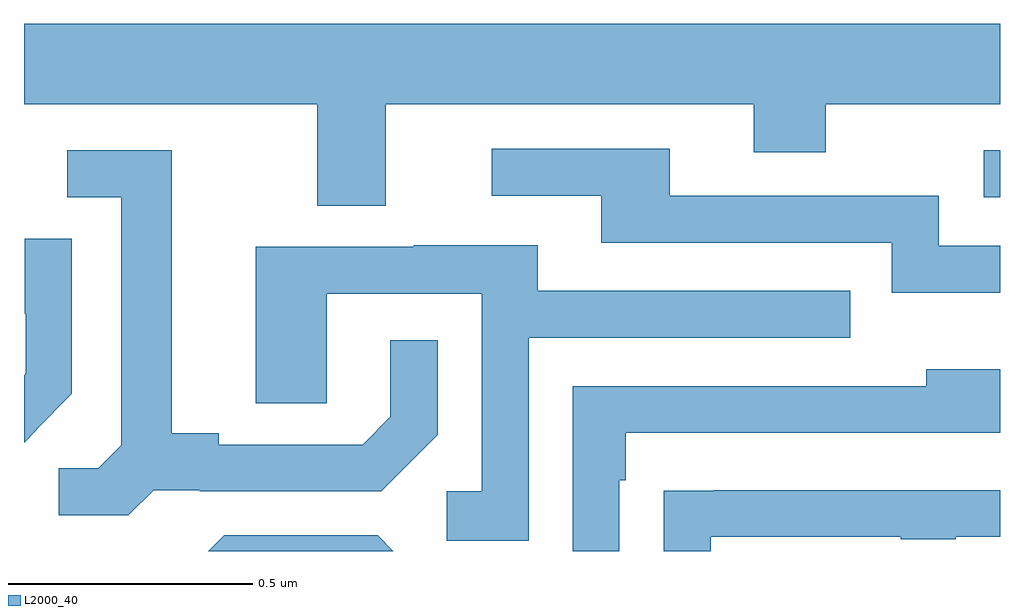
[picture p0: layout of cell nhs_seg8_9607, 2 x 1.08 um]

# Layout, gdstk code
import gdstk
lib = gdstk.Library(unit=1e-6, precision=1e-09)
def R(c, l, rs):  # rectangles x0, y0, x1, y1
    for r in rs: c.add(gdstk.rectangle(r[:2], r[2:], *l))
def P(c, l, *ps):  # polygons
    for p in ps: c.add(gdstk.Polygon(p, *l))
L2000_40 = (2000, 40)

nhs_seg8_9607 = lib.new_cell('nhs_seg8_9607')
R(nhs_seg8_9607, L2000_40, [(239.967,1133.625,240,1133.721)])
P(nhs_seg8_9607, L2000_40, [(238.741,1133.816),(239.495,1133.816),(239.495,1133.717),(239.643,1133.717),(239.643,1133.816),(240,1133.816),(240,1133.98),(238,1133.98),(238,1133.816),(238.601,1133.816),(238.601,1133.608),(238.741,1133.608)],
  [(240,1133.526),(239.874,1133.526),(239.874,1133.628),(239.323,1133.628),(239.323,1133.724),(238.959,1133.724),(238.959,1133.628),(239.183,1133.628),(239.183,1133.532),(239.778,1133.532),(239.778,1133.429),(240,1133.429)],
  [(238.266,1133.025),(238.36,1133.025),(238.36,1133.022),(238.732,1133.022),(238.848,1133.138),(238.848,1133.332),(238.751,1133.332),(238.751,1133.175),(238.694,1133.118),(238.399,1133.118),(238.399,1133.141),(238.303,1133.141),(238.303,1133.721),(238.089,1133.721),(238.089,1133.625),(238.199,1133.625),(238.199,1133.117),(238.152,1133.07),(238.071,1133.07),(238.071,1132.973),(238.214,1132.973)],
  [(238.026,1133.148),(238.025,1133.149),(238.098,1133.222),(238.098,1133.54),(238.002,1133.54),(238.002,1133.386),(238.004,1133.386),(238.004,1133.264),(238,1133.26),(238,1133.122)],
  [(239.034,1133.337),(239.693,1133.337),(239.693,1133.433),(239.053,1133.433),(239.053,1133.527),(238.799,1133.527),(238.799,1133.523),(238.475,1133.523),(238.475,1133.203),(238.62,1133.203),(238.62,1133.427),(238.938,1133.427),(238.938,1133.022),(238.866,1133.022),(238.866,1132.921),(239.034,1132.921)],
  [(239.22,1133.045),(239.233,1133.045),(239.233,1133.142),(240,1133.142),(240,1133.272),(239.849,1133.272),(239.849,1133.238),(239.124,1133.238),(239.124,1132.9),(239.22,1132.9)],
  [(239.407,1132.929),(239.797,1132.929),(239.797,1132.924),(239.909,1132.924),(239.909,1132.929),(240,1132.929),(240,1133.025),(239.413,1133.025),(239.413,1133.024),(239.311,1133.024),(239.311,1132.9),(239.407,1132.9)],
  [(238.725,1132.932),(238.41,1132.932),(238.378,1132.9),(238.757,1132.9)])

lib.write_gds('nhs_seg8_9607.gds')
